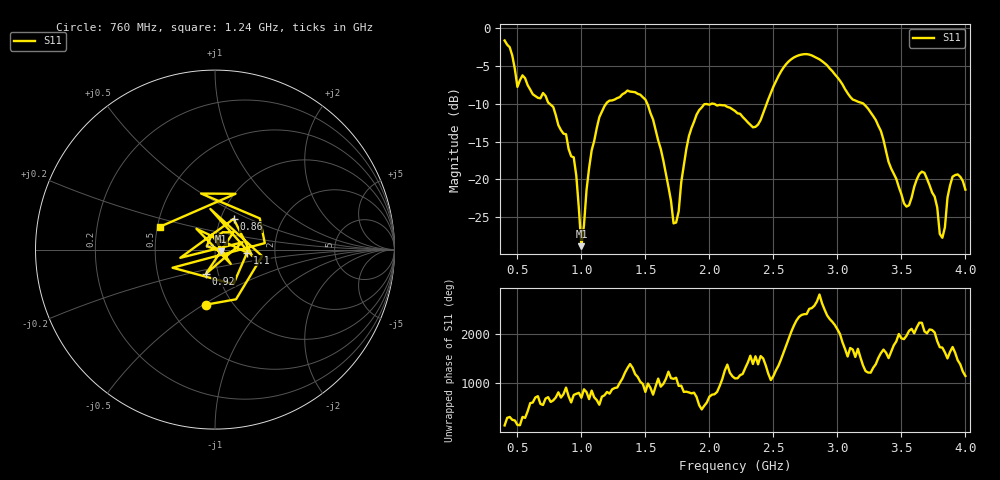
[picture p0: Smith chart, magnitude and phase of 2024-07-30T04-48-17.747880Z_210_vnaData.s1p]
!Created with skrf (http://scikit-rf.org).
# Hz S RI R 50.0
!freq ReS11 ImS11
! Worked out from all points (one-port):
!   181 points, 400 MHz to 4 GHz, reference 50 ohm
!   lowest |S11| = -28.8 dB at 1 GHz (marker M1), VSWR 1.08, Z = 53.6 - j0.915 ohm
!   |S11| at or under -10 dB: 750.5 MHz to 1.194 GHz (443.5 MHz wide, 45.6 % of centre); 1.514 GHz to 2.019 GHz (504.1 MHz wide, 28.5 % of centre); 3.202 GHz to end of sweep (the widest 3 of 4)
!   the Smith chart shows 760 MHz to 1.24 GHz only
!   S11 on the Smith chart (normalised r, x): 760 MHz: 0.75, -0.51; 860 MHz: 1.15, +0.41; 920 MHz: 0.88, -0.24; 1.1 GHz: 1.43, -0.05; 1.24 GHz: 0.52, +0.15
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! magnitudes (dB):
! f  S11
! 400 MHz  -1.7
! 500 MHz  -7.8
! 760 MHz  -10.1
! 860 MHz  -14.0
! 920 MHz  -16.9
! 960 MHz  -19.5
! 1 GHz  -28.8
! 1.06 GHz  -18.5
! 1.1 GHz  -14.9
! 1.24 GHz  -9.6
! 1.3 GHz  -9.1
! 1.5 GHz  -9.5
! 1.62 GHz  -16.0
! 1.72 GHz  -25.8
! 1.76 GHz  -24.2
! 1.82 GHz  -16.0
! 1.9 GHz  -11.4
! 2.2 GHz  -11.0
! 2.38 GHz  -12.8
! 2.66 GHz  -3.9
! 2.86 GHz  -4.2
! 3.1 GHz  -9.1
! 3.3 GHz  -12.2
! 3.56 GHz  -23.4
! 3.68 GHz  -19.1
! 3.82 GHz  -27.7
! 3.9 GHz  -19.6
! 4 GHz  -21.3
